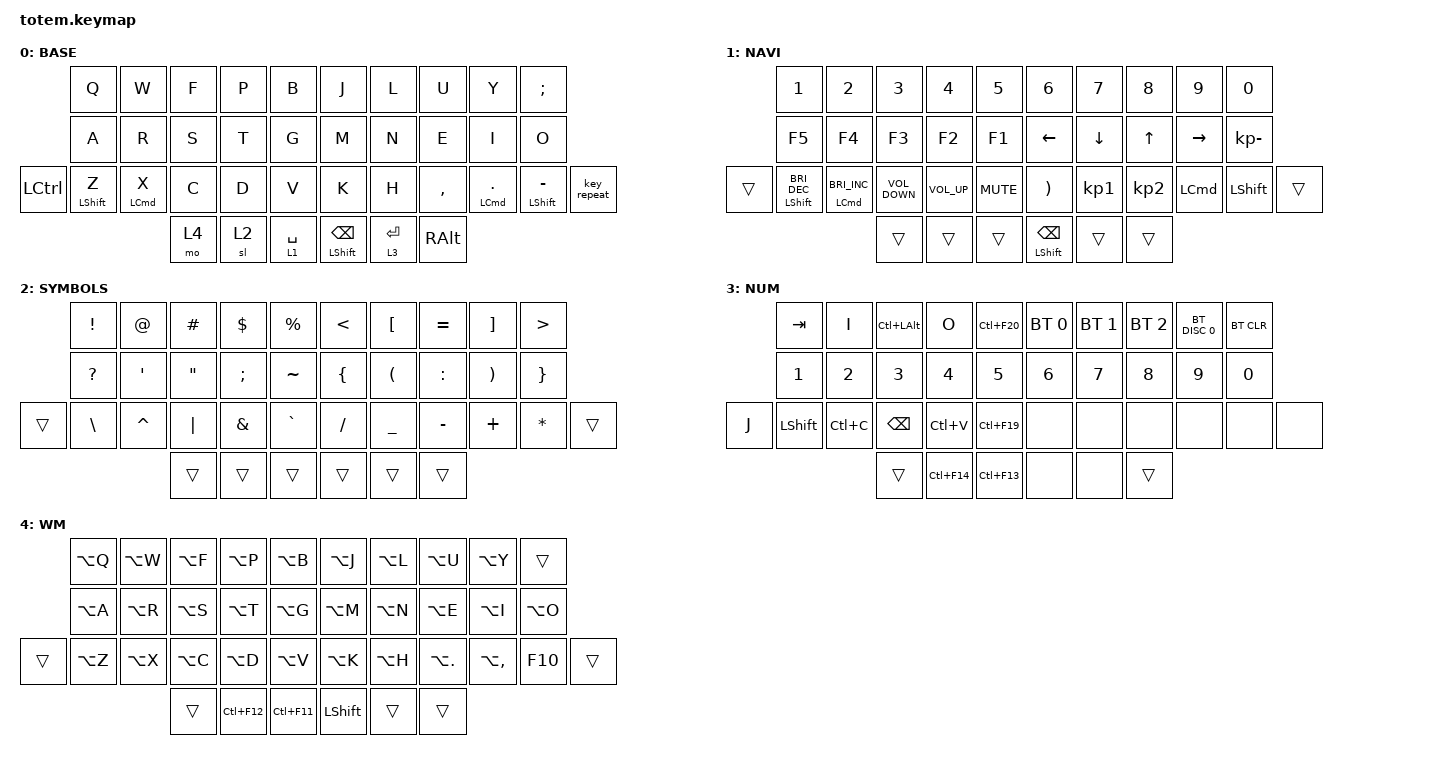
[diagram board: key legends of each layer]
//
//                                                        ▀▀▀▀▀     ▀▀▀▀▀          ▀▀█▀▀
//                                                        ▄▀▀▀▄  ▄  ▄▀▀▀▄  ▄  ▄▀▀▀▄  █  ▄▀▀▀▄
//                                                        █   █  █  █   █  █  █   █  █  █   █
//                                                         ▀▀▀   █   ▀▀▀   █   ▀▀▀   ▀   ▀▀▀
//                                                               █      ▄▄▄█▄▄▄    █   █  
//                                                               ▀      █  █  █     █▄█
//                                                             ▀▀▀▀▀    █  █  █      ▀
//                                                                      ▀  ▀  ▀
//
// ▄▄▄▄▄▄▄▄▄▄▄▄▄▄▄▄▄▄▄▄▄▄▄▄▄▄▄▄▄▄▄▄▄▄▄▄▄▄▄▄▄▄▄▄▄▄▄▄▄▄▄▄▄▄▄▄▄▄▄▄▄▄▄▄▄▄▄▄▄▄▄▄▄▄▄▄▄▄▄▄▄▄▄▄▄▄▄▄▄▄▄▄▄▄▄▄▄▄▄▄▄▄▄▄▄▄▄▄▄▄▄▄▄▄▄▄▄▄▄▄▄▄▄▄▄▄▄▄▄▄▄▄▄▄▄▄▄▄▄▄▄▄▄▄▄▄▄▄▄

#include <behaviors.dtsi>
#include <dt-bindings/zmk/bt.h>
#include <dt-bindings/zmk/keys.h>

#define BASE 0
#define NAV  1
#define SYM  2
#define ADJ  3
#define TVP1 4
#define TVP2 5

&mt {
    quick-tap-ms = <100>;
    global-quick-tap;
    flavor = "tap-preferred";
    tapping-term-ms = <170>;
};

/ {
    combos {
        compatible = "zmk,combos";

        combo_esc {
            key-positions = <11 12>;
            bindings = <&kp ESC>;
            layers = <0 2>;
        };

        tab {
            key-positions = <2 1>;
            bindings = <&kp TAB>;
            layers = <0>;
        };

        remove-word {
            bindings = <&kp LA(BACKSPACE)>;
            key-positions = <7 8>;
            layers = <0>;
        };

        control {
            bindings = <&kp LEFT_CONTROL>;
            key-positions = <33 36>;
        };

        underscore {
            bindings = <&kp UNDERSCORE>;
            key-positions = <2 7>;
        };
    };

    macros {
        gif: gif {
            label = "giphy";
            compatible = "zmk,behavior-macro";
            #binding-cells = <0>;
            bindings =
                <&macro_press>,
                <&kp LSHFT>,
                <&macro_tap>,
                <&kp N2>,
                <&macro_release>,
                <&kp LSHFT>,
                <&macro_tap>,
                <&kp G &kp I &kp F>;
        };
    };

    keymap {
        compatible = "zmk,keymap";

        // ▄▄▄▄▄▄▄▄▄▄▄▄▄▄▄▄▄▄▄▄▄▄▄▄▄▄▄▄▄▄▄▄▄▄▄▄▄▄▄▄▄▄▄▄▄▄▄▄▄▄▄▄▄▄▄▄▄▄▄▄▄▄▄▄▄▄▄▄▄▄▄▄▄▄▄▄▄▄▄▄▄▄▄▄▄▄▄▄▄▄▄▄▄▄▄▄▄▄▄▄▄▄▄▄▄▄▄▄▄▄▄▄▄▄▄▄▄▄▄▄▄▄▄▄▄▄▄▄▄▄▄▄▄▄▄▄▄▄▄▄▄▄▄▄▄▄▄▄▄

        LETTERS {
            // ┏━━━━━━━━━━━━━━━━━━━━━━━━━━━━━━━━━━━━━━━┓

            label = "BASE";

            // ┗━━━━━━━━━━━━━━━━━━━━━━━━━━━━━━━━━━━━━━━┛
            //             ┏━━━━━━━━━━━┳━━━━━━━━━━━┳━━━━━━━━━━━┳━━━━━━━━━━━┳━━━━━━━━━━━┓   ┏━━━━━━━━━━━┳━━━━━━━━━━━┳━━━━━━━━━━━┳━━━━━━━━━━━┳━━━━━━━━━━━┓
            //             ┃     Q     ┃     W     ┃     F     ┃     P     ┃     G     ┃   ┃     J     ┃     L     ┃     U     ┃     Y     ┃     ;     ┃
            //             ┣━━━━━━━━━━━╋━━━━━━━━━━━╋━━━━━━━━━━━╋━━━━━━━━━━━╋━━━━━━━━━━━┫   ┣━━━━━━━━━━━╋━━━━━━━━━━━╋━━━━━━━━━━━╋━━━━━━━━━━━╋━━━━━━━━━━━┫
            //             ┃     A     ┃     R     ┃     S     ┃     T     ┃     D     ┃   ┃     H     ┃     N     ┃     E     ┃     I     ┃     O     ┃
            // ┏━━━━━━━━━━━╋━━━━━━━━━━━╋━━━━━━━━━━━╋━━━━━━━━━━━╋━━━━━━━━━━━╋━━━━━━━━━━━┫   ┣━━━━━━━━━━━╋━━━━━━━━━━━╋━━━━━━━━━━━╋━━━━━━━━━━━╋━━━━━━━━━━━╋━━━━━━━━━━━┓
            // ┃     Q     ┃     Z     ┃     X     ┃     C     ┃     V     ┃     B     ┃   ┃     K     ┃     M     ┃     ,     ┃     .     ┃     /     ┃     \     ┃
            // ┗━━━━━━━━━━━┻━━━━━━━━━━━┻━━━━━━━━━━━╋━━━━━━━━━━━╋━━━━━━━━━━━╋━━━━━━━━━━━┫   ┣━━━━━━━━━━━╋━━━━━━━━━━━╋━━━━━━━━━━━╋━━━━━━━━━━━┻━━━━━━━━━━━┻━━━━━━━━━━━┛
            //                                     ┃    DEL    ┃    TAB    ┃    SPC    ┃   ┃   ENTER   ┃           ┃   BSPC    ┃
            //                                     ┗━━━━━━━━━━━┻━━━━━━━━━━━┻━━━━━━━━━━━┛   ┗━━━━━━━━━━━┻━━━━━━━━━━━┻━━━━━━━━━━━┛

            bindings = <
           &kp Q             &kp W               &kp F  &kp P  &kp B          &kp J                     &kp L        &kp U          &kp Y                    &kp SEMICOLON
           &kp A             &kp R               &kp S  &kp T  &kp G          &kp M                     &kp N        &kp E          &kp I                    &kp O
&kp LCTRL  &mt LEFT_SHIFT Z  &mt LEFT_COMMAND X  &kp C  &kp D  &kp V          &kp K                     &kp H        &kp COMMA      &mt LEFT_COMMAND PERIOD  &mt LEFT_SHIFT MINUS  &key_repeat
                                                 &mo 4  &sl 2  &lt 1 SPACE    &mt LEFT_SHIFT BACKSPACE  &lt 3 ENTER  &kp RIGHT_ALT
            >;
        };

        // ▄▄▄▄▄▄▄▄▄▄▄▄▄▄▄▄▄▄▄▄▄▄▄▄▄▄▄▄▄▄▄▄▄▄▄▄▄▄▄▄▄▄▄▄▄▄▄▄▄▄▄▄▄▄▄▄▄▄▄▄▄▄▄▄▄▄▄▄▄▄▄▄▄▄▄▄▄▄▄▄▄▄▄▄▄▄▄▄▄▄▄▄▄▄▄▄▄▄▄▄▄▄▄▄▄▄▄▄▄▄▄▄▄▄▄▄▄▄▄▄▄▄▄▄▄▄▄▄▄▄▄▄▄▄▄▄▄▄▄▄▄▄▄▄▄▄▄▄▄

        NAVIGATION {
            // ┏━━━━━━━━━━━━━━━━━━━━━━━━━━━━━━━━━━━━━━━┓

            label = "NAVI";

            // ┗━━━━━━━━━━━━━━━━━━━━━━━━━━━━━━━━━━━━━━━┛
            //             ┏━━━━━━━━━━━┳━━━━━━━━━━━┳━━━━━━━━━━━┳━━━━━━━━━━━┳━━━━━━━━━━━┓   ┏━━━━━━━━━━━┳━━━━━━━━━━━┳━━━━━━━━━━━┳━━━━━━━━━━━┳━━━━━━━━━━━┓
            //             ┃           ┃           ┃     UP    ┃           ┃     {     ┃   ┃     }     ┃     7     ┃     8     ┃     9     ┃     +     ┃
            //             ┣━━━━━━━━━━━╋━━━━━━━━━━━╋━━━━━━━━━━━╋━━━━━━━━━━━╋━━━━━━━━━━━┫   ┣━━━━━━━━━━━╋━━━━━━━━━━━╋━━━━━━━━━━━╋━━━━━━━━━━━╋━━━━━━━━━━━┫
            //             ┃   SHIFT   ┃   LEFT    ┃    DOWN   ┃   RIGHT   ┃     [     ┃   ┃     ]     ┃     4     ┃     5     ┃     6     ┃     -     ┃
            // ┏━━━━━━━━━━━╋━━━━━━━━━━━╋━━━━━━━━━━━╋━━━━━━━━━━━╋━━━━━━━━━━━╋━━━━━━━━━━━┫   ┣━━━━━━━━━━━╋━━━━━━━━━━━╋━━━━━━━━━━━╋━━━━━━━━━━━╋━━━━━━━━━━━╋━━━━━━━━━━━┓
            // ┃           ┃           ┃   P UP    ┃  C LOCK   ┃  P DOWN   ┃     (     ┃   ┃     )     ┃     1     ┃     2     ┃     3     ┃     *     ┃           ┃
            // ┗━━━━━━━━━━━┻━━━━━━━━━━━┻━━━━━━━━━━━╋━━━━━━━━━━━╋━━━━━━━━━━━╋━━━━━━━━━━━┫   ┣━━━━━━━━━━━╋━━━━━━━━━━━╋━━━━━━━━━━━╋━━━━━━━━━━━┻━━━━━━━━━━━┻━━━━━━━━━━━┛
            //                                     ┃           ┃    TAB    ┃    SPC    ┃   ┃    DEL    ┃     0     ┃           ┃
            //                                     ┗━━━━━━━━━━━┻━━━━━━━━━━━┻━━━━━━━━━━━┛   ┗━━━━━━━━━━━┻━━━━━━━━━━━┻━━━━━━━━━━━┛

            bindings = <
        &kp NUMBER_1                     &kp NUMBER_2                       &kp NUMBER_3       &kp NUMBER_4     &kp NUMBER_5    &kp NUMBER_6              &kp N7     &kp N8        &kp N9            &kp N0
        &kp F5                           &kp F4                             &kp F3             &kp F2           &kp F1          &kp LEFT                  &kp DOWN   &kp UP_ARROW  &kp RIGHT         &kp KP_MINUS
&trans  &mt LEFT_SHIFT C_BRIGHTNESS_DEC  &mt LEFT_COMMAND C_BRIGHTNESS_INC  &kp C_VOLUME_DOWN  &kp C_VOLUME_UP  &kp K_MUTE      &kp RPAR                  &kp KP_N1  &kp KP_N2     &kp LEFT_COMMAND  &kp LEFT_SHIFT  &trans
                                                                            &trans             &trans           &trans          &mt LEFT_SHIFT BACKSPACE  &trans     &trans
            >;
        };

        // ▄▄▄▄▄▄▄▄▄▄▄▄▄▄▄▄▄▄▄▄▄▄▄▄▄▄▄▄▄▄▄▄▄▄▄▄▄▄▄▄▄▄▄▄▄▄▄▄▄▄▄▄▄▄▄▄▄▄▄▄▄▄▄▄▄▄▄▄▄▄▄▄▄▄▄▄▄▄▄▄▄▄▄▄▄▄▄▄▄▄▄▄▄▄▄▄▄▄▄▄▄▄▄▄▄▄▄▄▄▄▄▄▄▄▄▄▄▄▄▄▄▄▄▄▄▄▄▄▄▄▄▄▄▄▄▄▄▄▄▄▄▄▄▄▄▄▄▄▄

        SYMBOLS {
            // ┏━━━━━━━━━━━━━━━━━━━━━━━━━━━━━━━━━━━━━━━┓

            label = "SYMBOLS";

            // ┗━━━━━━━━━━━━━━━━━━━━━━━━━━━━━━━━━━━━━━━┛
            //             ┏━━━━━━━━━━━┳━━━━━━━━━━━┳━━━━━━━━━━━┳━━━━━━━━━━━┳━━━━━━━━━━━┓   ┏━━━━━━━━━━━┳━━━━━━━━━━━┳━━━━━━━━━━━┳━━━━━━━━━━━┳━━━━━━━━━━━┓
            //             ┃     !     ┃     @     ┃     #     ┃     $     ┃     %     ┃   ┃     ˆ     ┃     &     ┃     Ü     ┃     '     ┃     "     ┃
            //             ┣━━━━━━━━━━━╋━━━━━━━━━━━╋━━━━━━━━━━━╋━━━━━━━━━━━╋━━━━━━━━━━━┫   ┣━━━━━━━━━━━╋━━━━━━━━━━━╋━━━━━━━━━━━╋━━━━━━━━━━━╋━━━━━━━━━━━┫
            //             ┃     Ä     ┃           ┃    SZ     ┃           ┃           ┃   ┃   MUTE    ┃   YEN     ┃   EURO    ┃  POUND    ┃     Ö     ┃
            // ┏━━━━━━━━━━━╋━━━━━━━━━━━╋━━━━━━━━━━━╋━━━━━━━━━━━╋━━━━━━━━━━━╋━━━━━━━━━━━┫   ┣━━━━━━━━━━━╋━━━━━━━━━━━╋━━━━━━━━━━━╋━━━━━━━━━━━╋━━━━━━━━━━━╋━━━━━━━━━━━┓
            // ┃           ┃  EMAIL1   ┃  EMAIL2   ┃           ┃           ┃           ┃   ┃   VOL-    ┃   VOL+    ┃   LAST    ┃   NEXT    ┃     \     ┃           ┃
            // ┗━━━━━━━━━━━┻━━━━━━━━━━━┻━━━━━━━━━━━╋━━━━━━━━━━━╋━━━━━━━━━━━╋━━━━━━━━━━━┫   ┣━━━━━━━━━━━╋━━━━━━━━━━━╋━━━━━━━━━━━╋━━━━━━━━━━━┻━━━━━━━━━━━┻━━━━━━━━━━━┛
            //                                     ┃           ┃    GIF    ┃    ADJ    ┃   ┃           ┃           ┃           ┃
            //                                     ┗━━━━━━━━━━━┻━━━━━━━━━━━┻━━━━━━━━━━━┛   ┗━━━━━━━━━━━┻━━━━━━━━━━━┻━━━━━━━━━━━┛

            bindings = <
        &kp EXCL       &kp AT            &kp HASH           &kp DLLR       &kp PRCNT    &kp LESS_THAN   &kp LEFT_BRACKET      &kp EQUAL  &kp RIGHT_BRACKET      &kp GREATER_THAN
        &kp QUESTION   &kp SINGLE_QUOTE  &kp DOUBLE_QUOTES  &kp SEMICOLON  &kp TILDE    &kp LEFT_BRACE  &kp LEFT_PARENTHESIS  &kp COLON  &kp RIGHT_PARENTHESIS  &kp RIGHT_BRACE
&trans  &kp BACKSLASH  &kp CARET         &kp PIPE           &kp AMPERSAND  &kp GRAVE    &kp SLASH       &kp UNDERSCORE        &kp MINUS  &kp PLUS               &kp STAR          &trans
                                         &trans             &trans         &trans       &trans          &trans                &trans
            >;
        };

        // ▄▄▄▄▄▄▄▄▄▄▄▄▄▄▄▄▄▄▄▄▄▄▄▄▄▄▄▄▄▄▄▄▄▄▄▄▄▄▄▄▄▄▄▄▄▄▄▄▄▄▄▄▄▄▄▄▄▄▄▄▄▄▄▄▄▄▄▄▄▄▄▄▄▄▄▄▄▄▄▄▄▄▄▄▄▄▄▄▄▄▄▄▄▄▄▄▄▄▄▄▄▄▄▄▄▄▄▄▄▄▄▄▄▄▄▄▄▄▄▄▄▄▄▄▄▄▄▄▄▄▄▄▄▄▄▄▄▄▄▄▄▄▄▄▄▄▄▄▄
        // ▄▄▄▄▄▄▄▄▄▄▄▄▄▄▄▄▄▄▄▄▄▄▄▄▄▄▄▄▄▄▄▄▄▄▄▄▄▄▄▄▄▄▄▄▄▄▄▄▄▄▄▄▄▄▄▄▄▄▄▄▄▄▄▄▄▄▄▄▄▄▄▄▄▄▄▄▄▄▄▄▄▄▄▄▄▄▄▄▄▄▄▄▄▄▄▄▄▄▄▄▄▄▄▄▄▄▄▄▄▄▄▄▄▄▄▄▄▄▄▄▄▄▄▄▄▄▄▄▄▄▄▄▄▄▄▄▄▄▄▄▄▄▄▄▄▄▄▄▄

        NUMBERS {
            // ┏━━━━━━━━━━━━━━━━━━━━━━━━━━━━━━━━━━━━━━━┓

            label = "NUM";

            // ┗━━━━━━━━━━━━━━━━━━━━━━━━━━━━━━━━━━━━━━━┛
            //             ┏━━━━━━━━━━━┳━━━━━━━━━━━┳━━━━━━━━━━━┳━━━━━━━━━━━┳━━━━━━━━━━━┓   ┏━━━━━━━━━━━┳━━━━━━━━━━━┳━━━━━━━━━━━┳━━━━━━━━━━━┳━━━━━━━━━━━┓
            //             ┃ NEXT FILE ┃ MARK IN   ┃ ROTATE    ┃ MARK OUT  ┃ SHOW SNAP ┃   ┃           ┃           ┃           ┃           ┃           ┃
            //             ┣━━━━━━━━━━━╋━━━━━━━━━━━╋━━━━━━━━━━━╋━━━━━━━━━━━╋━━━━━━━━━━━┫   ┣━━━━━━━━━━━╋━━━━━━━━━━━╋━━━━━━━━━━━╋━━━━━━━━━━━╋━━━━━━━━━━━┫
            //             ┃ TVP II    ┃ LEFT      ┃ PAN       ┃ RIGHT     ┃ PLAY/FLIP ┃   ┃           ┃           ┃           ┃           ┃           ┃
            // ┏━━━━━━━━━━━╋━━━━━━━━━━━╋━━━━━━━━━━━╋━━━━━━━━━━━╋━━━━━━━━━━━╋━━━━━━━━━━━┫   ┣━━━━━━━━━━━╋━━━━━━━━━━━╋━━━━━━━━━━━╋━━━━━━━━━━━╋━━━━━━━━━━━╋━━━━━━━━━━━┓
            // ┃ FULLSCR   ┃ SHIFT     ┃ COPY      ┃ DELETE    ┃ PASTE     ┃ IMG MARK  ┃   ┃           ┃           ┃           ┃           ┃           ┃           ┃
            // ┗━━━━━━━━━━━┻━━━━━━━━━━━┻━━━━━━━━━━━╋━━━━━━━━━━━╋━━━━━━━━━━━╋━━━━━━━━━━━┫   ┣━━━━━━━━━━━╋━━━━━━━━━━━╋━━━━━━━━━━━╋━━━━━━━━━━━┻━━━━━━━━━━━┻━━━━━━━━━━━┛
            //                                     ┃           ┃ UNDO/SAVE ┃  SEL/MOV  ┃   ┃           ┃           ┃           ┃
            //                                     ┗━━━━━━━━━━━┻━━━━━━━━━━━┻━━━━━━━━━━━┛   ┗━━━━━━━━━━━┻━━━━━━━━━━━┻━━━━━━━━━━━┛

            bindings = <
       &kp TAB       &kp I         &kp LC(LALT)  &kp O         &kp LC(F20)    &bt BT_SEL 0  &bt BT_SEL 1  &bt BT_SEL 2  &bt BT_DISC 0  &bt BT_CLR
       &kp NUMBER_1  &kp NUMBER_2  &kp NUMBER_3  &kp NUMBER_4  &kp N5         &kp NUMBER_6  &kp N7        &kp N8        &kp N9         &kp N0
&kp J  &kp LSHFT     &kp LC(C)     &kp BSPC      &kp LC(V)     &kp LC(F19)    &none         &none         &none         &none          &none       &none
                                   &trans        &kp LC(F14)   &kp LC(F13)    &none         &none         &trans
            >;
        };

        // ▄▄▄▄▄▄▄▄▄▄▄▄▄▄▄▄▄▄▄▄▄▄▄▄▄▄▄▄▄▄▄▄▄▄▄▄▄▄▄▄▄▄▄▄▄▄▄▄▄▄▄▄▄▄▄▄▄▄▄▄▄▄▄▄▄▄▄▄▄▄▄▄▄▄▄▄▄▄▄▄▄▄▄▄▄▄▄▄▄▄▄▄▄▄▄▄▄▄▄▄▄▄▄▄▄▄▄▄▄▄▄▄▄▄▄▄▄▄▄▄▄▄▄▄▄▄▄▄▄▄▄▄▄▄▄▄▄▄▄▄▄▄▄▄▄▄▄▄▄

        WINDOWMANAGMENT {
            // ┏━━━━━━━━━━━━━━━━━━━━━━━━━━━━━━━━━━━━━━━┓

            label = "WM";

            // ┗━━━━━━━━━━━━━━━━━━━━━━━━━━━━━━━━━━━━━━━┛
            //             ┏━━━━━━━━━━━┳━━━━━━━━━━━┳━━━━━━━━━━━┳━━━━━━━━━━━┳━━━━━━━━━━━┓   ┏━━━━━━━━━━━┳━━━━━━━━━━━┳━━━━━━━━━━━┳━━━━━━━━━━━┳━━━━━━━━━━━┓
            //             ┃ SOLO      ┃ TOGGLE IN ┃ RESET ROT ┃ TOGGLE OUT┃ TAKE SNAP ┃   ┃           ┃           ┃           ┃           ┃           ┃
            //             ┣━━━━━━━━━━━╋━━━━━━━━━━━╋━━━━━━━━━━━╋━━━━━━━━━━━╋━━━━━━━━━━━┫   ┣━━━━━━━━━━━╋━━━━━━━━━━━╋━━━━━━━━━━━╋━━━━━━━━━━━╋━━━━━━━━━━━┫
            //             ┃ ---       ┃ LAST KEY  ┃ NEW KEY   ┃ NEXT KEY  ┃ ENTER     ┃   ┃           ┃           ┃           ┃           ┃           ┃
            // ┏━━━━━━━━━━━╋━━━━━━━━━━━╋━━━━━━━━━━━╋━━━━━━━━━━━╋━━━━━━━━━━━╋━━━━━━━━━━━┫   ┣━━━━━━━━━━━╋━━━━━━━━━━━╋━━━━━━━━━━━╋━━━━━━━━━━━╋━━━━━━━━━━━╋━━━━━━━━━━━┓
            // ┃           ┃ FULLSCR   ┃ CPY2BRUSH ┃ DEL HEAD  ┃ PSTinPLACE┃ BOOK MARK ┃   ┃           ┃           ┃           ┃           ┃           ┃           ┃
            // ┗━━━━━━━━━━━┻━━━━━━━━━━━┻━━━━━━━━━━━╋━━━━━━━━━━━╋━━━━━━━━━━━╋━━━━━━━━━━━┫   ┣━━━━━━━━━━━╋━━━━━━━━━━━╋━━━━━━━━━━━╋━━━━━━━━━━━┻━━━━━━━━━━━┻━━━━━━━━━━━┛
            //                                     ┃           ┃ REDO/SAV1 ┃TRANS/WARP ┃   ┃           ┃           ┃           ┃
            //                                     ┗━━━━━━━━━━━┻━━━━━━━━━━━┻━━━━━━━━━━━┛   ┗━━━━━━━━━━━┻━━━━━━━━━━━┻━━━━━━━━━━━┛

            bindings = <
        &kp LA(Q)  &kp LA(W)  &kp LA(F)  &kp LA(P)    &kp LA(B)      &kp LA(J)       &kp LA(L)  &kp LA(U)       &kp LA(Y)      &trans
        &kp LA(A)  &kp LA(R)  &kp LA(S)  &kp LA(T)    &kp LA(G)      &kp LA(M)       &kp LA(N)  &kp LA(E)       &kp LA(I)      &kp LA(O)
&trans  &kp LA(Z)  &kp LA(X)  &kp LA(C)  &kp LA(D)    &kp LA(V)      &kp LA(K)       &kp LA(H)  &kp LA(PERIOD)  &kp LA(COMMA)  &kp F10    &trans
                              &trans     &kp LC(F12)  &kp LC(F11)    &kp LEFT_SHIFT  &trans     &trans
            >;
        };
    };
};
